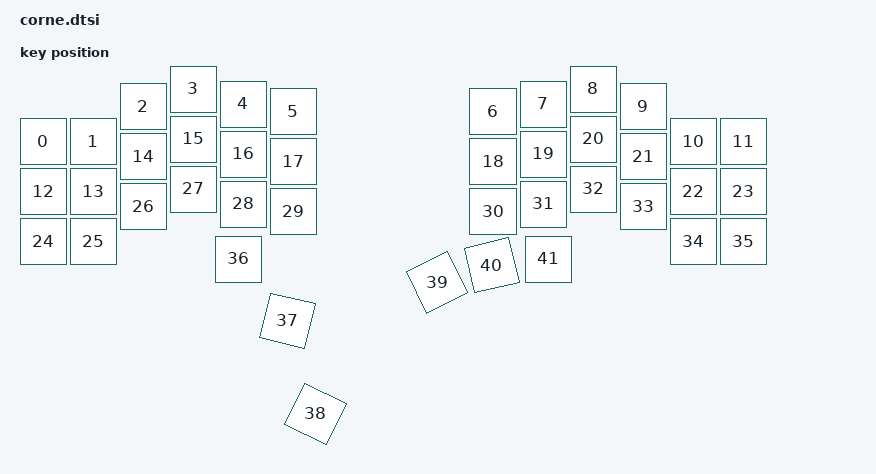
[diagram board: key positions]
#include <physical_layouts.dtsi>
/* https://zmk-physical-layout-converter.streamlit.app/ */

/ {
    default_layout: default_layout {
        compatible = "zmk,physical-layout";
        display-name = "Default Layout";
        transform = <&default_transform>;

        keys  //                     w   h    x    y     rot    rx    ry
            = <&key_physical_attrs 100 100    0  105       0     0     0>
            , <&key_physical_attrs 100 100  100  105       0     0     0>
            , <&key_physical_attrs 100 100  200   35       0     0     0>
            , <&key_physical_attrs 100 100  300    0       0     0     0>
            , <&key_physical_attrs 100 100  400   30       0     0     0>
            , <&key_physical_attrs 100 100  500   45       0     0     0>
            , <&key_physical_attrs 100 100  900   45       0     0     0>
            , <&key_physical_attrs 100 100 1000   30       0     0     0>
            , <&key_physical_attrs 100 100 1100    0       0     0     0>
            , <&key_physical_attrs 100 100 1200   35       0     0     0>
            , <&key_physical_attrs 100 100 1300  105       0     0     0>
            , <&key_physical_attrs 100 100 1400  105       0     0     0>
            , <&key_physical_attrs 100 100    0  205       0     0     0>
            , <&key_physical_attrs 100 100  100  205       0     0     0>
            , <&key_physical_attrs 100 100  200  135       0     0     0>
            , <&key_physical_attrs 100 100  300  100       0     0     0>
            , <&key_physical_attrs 100 100  400  130       0     0     0>
            , <&key_physical_attrs 100 100  500  145       0     0     0>
            , <&key_physical_attrs 100 100  900  145       0     0     0>
            , <&key_physical_attrs 100 100 1000  130       0     0     0>
            , <&key_physical_attrs 100 100 1100  100       0     0     0>
            , <&key_physical_attrs 100 100 1200  135       0     0     0>
            , <&key_physical_attrs 100 100 1300  205       0     0     0>
            , <&key_physical_attrs 100 100 1400  205       0     0     0>
            , <&key_physical_attrs 100 100    0  305       0     0     0>
            , <&key_physical_attrs 100 100  100  305       0     0     0>
            , <&key_physical_attrs 100 100  200  235       0     0     0>
            , <&key_physical_attrs 100 100  300  200       0     0     0>
            , <&key_physical_attrs 100 100  400  230       0     0     0>
            , <&key_physical_attrs 100 100  500  245       0     0     0>
            , <&key_physical_attrs 100 100  900  245       0     0     0>
            , <&key_physical_attrs 100 100 1000  230       0     0     0>
            , <&key_physical_attrs 100 100 1100  200       0     0     0>
            , <&key_physical_attrs 100 100 1200  235       0     0     0>
            , <&key_physical_attrs 100 100 1300  305       0     0     0>
            , <&key_physical_attrs 100 100 1400  305       0     0     0>
            , <&key_physical_attrs 100 100  390  340       0     0     0>
            , <&key_physical_attrs 100 100  495  340    1300     0   425>
            , <&key_physical_attrs 100 100  590  365    2600     0   460>
            , <&key_physical_attrs 100 100  810  340 (-2600)   950   460>
            , <&key_physical_attrs 100 100  905  330 (-1300)  1050   425>
            , <&key_physical_attrs 100 100 1010  340       0     0     0>
            ;
    };
};
